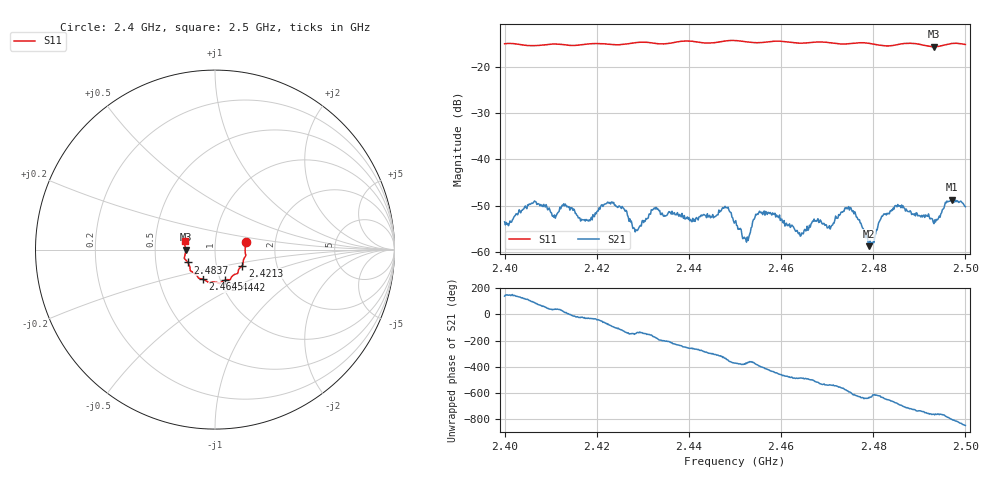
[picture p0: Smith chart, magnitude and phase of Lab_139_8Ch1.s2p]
# Hz S RI R 50
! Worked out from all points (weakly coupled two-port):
!   601 points, 2.4 GHz to 2.5 GHz, reference 50 ohm
!   highest |S21| = -48.65 dB at 2.497 GHz (marker M1); lowest = -58.7 dB at 2.479 GHz (marker M2)
!   lowest |S11| = -15.7 dB at 2.4932 GHz (marker M3), VSWR 1.39, Z = 35.9 - j0.0608 ohm
!   |S11| at or under -10 dB: start of sweep to end of sweep
!   S12 and S22 are empty: the file has one direction only
!   S11 on the Smith chart (normalised r, x): 2.4 GHz: 1.41, +0.12; 2.4213 GHz: 1.33, -0.25; 2.4442 GHz: 1.05, -0.37; 2.4645 GHz: 0.83, -0.29; 2.4837 GHz: 0.73, -0.11; 2.5 GHz: 0.71, +0.07
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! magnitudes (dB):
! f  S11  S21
! 2.4 GHz  -15.1  -53.4
! 2.4063 GHz  -15.5  -49.2
! 2.4167 GHz  -15.3  -52.9
! 2.4213 GHz  -15.1  -50.1
! 2.426 GHz  -15.2  -50.8
! 2.4285 GHz  -14.9  -55.1
! 2.4333 GHz  -15.1  -50.8
! 2.4442 GHz  -15.0  -52.4
! 2.448 GHz  -14.5  -50.4
! 2.45 GHz  -14.4  -53.5
! 2.4525 GHz  -14.7  -57.8
! 2.4548 GHz  -14.9  -51.8
! 2.4572 GHz  -14.7  -51.4
! 2.4645 GHz  -15.0  -55.8
! 2.4667 GHz  -14.8  -53.6
! 2.4747 GHz  -15.1  -50.2
! 2.479 GHz  -15.0  -58.7
! 2.4833 GHz  -15.6  -51.6
! 2.4837 GHz  -15.5  -51.1
! 2.4932 GHz  -15.7  -53.8
! 2.497 GHz  -15.0  -48.7
! 2.5 GHz  -15.2  -50.2
